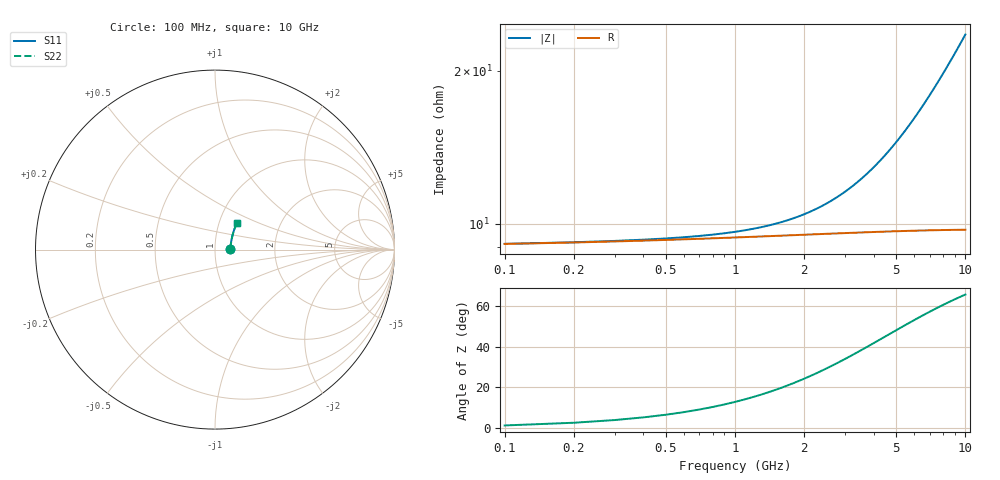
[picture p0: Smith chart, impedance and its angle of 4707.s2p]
# Hz S RI R 50.00
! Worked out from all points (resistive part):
!   100 points, 100 MHz to 10 GHz, reference 50 ohm
!   read as one part in series: R = 9.14 ohm at 100 MHz
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1e8  0.0837 0.00157  0.9163 -0.00205  0.9163 -0.00205  0.0837 0.00157
2e8  0.0842 0.00313  0.9158 -0.00409  0.9158 -0.00409  0.0842 0.00313
3e8  0.0846 0.0047  0.9154 -0.00613  0.9154 -0.00613  0.0846 0.0047
8e8  0.0859 0.0125  0.9141 -0.0163  0.9141 -0.0163  0.0859 0.0125
1.1e9  0.0865 0.0171  0.9135 -0.0224  0.9135 -0.0224  0.0865 0.0171
1.4e9  0.0871 0.0218  0.9128 -0.0285  0.9128 -0.0285  0.0871 0.0218
1.6e9  0.0875 0.0249  0.9124 -0.0325  0.9124 -0.0325  0.0875 0.0249
1.8e9  0.0879 0.028  0.912 -0.0366  0.912 -0.0366  0.0879 0.028
2.1e9  0.0886 0.0326  0.9114 -0.0426  0.9114 -0.0426  0.0886 0.0326
2.5e9  0.0895 0.0388  0.9104 -0.0507  0.9104 -0.0507  0.0895 0.0388
2.9e9  0.0905 0.0449  0.9094 -0.0587  0.9094 -0.0587  0.0905 0.0449
3.4e9  0.0918 0.0525  0.9081 -0.0688  0.9081 -0.0688  0.0918 0.0525
4e9  0.0936 0.0616  0.9062 -0.0807  0.9062 -0.0807  0.0936 0.0616
5.1e9  0.0973 0.0782  0.9023 -0.1025  0.9023 -0.1025  0.0973 0.0782
6e9  0.101 0.0916  0.8986 -0.1202  0.8986 -0.1202  0.101 0.0916
6.7e9  0.1041 0.1018  0.8953 -0.1338  0.8953 -0.1338  0.1041 0.1018
7.2e9  0.1065 0.1091  0.8928 -0.1435  0.8928 -0.1435  0.1065 0.1091
7.6e9  0.1086 0.1148  0.8907 -0.1511  0.8907 -0.1511  0.1086 0.1148
8.4e9  0.113 0.1262  0.8862 -0.1663  0.8862 -0.1663  0.113 0.1262
8.8e9  0.1153 0.1318  0.8838 -0.1738  0.8838 -0.1738  0.1153 0.1318
9.2e9  0.1177 0.1373  0.8813 -0.1813  0.8813 -0.1813  0.1177 0.1373
1e10  0.1228 0.1483  0.876 -0.1961  0.876 -0.1961  0.1228 0.1483
